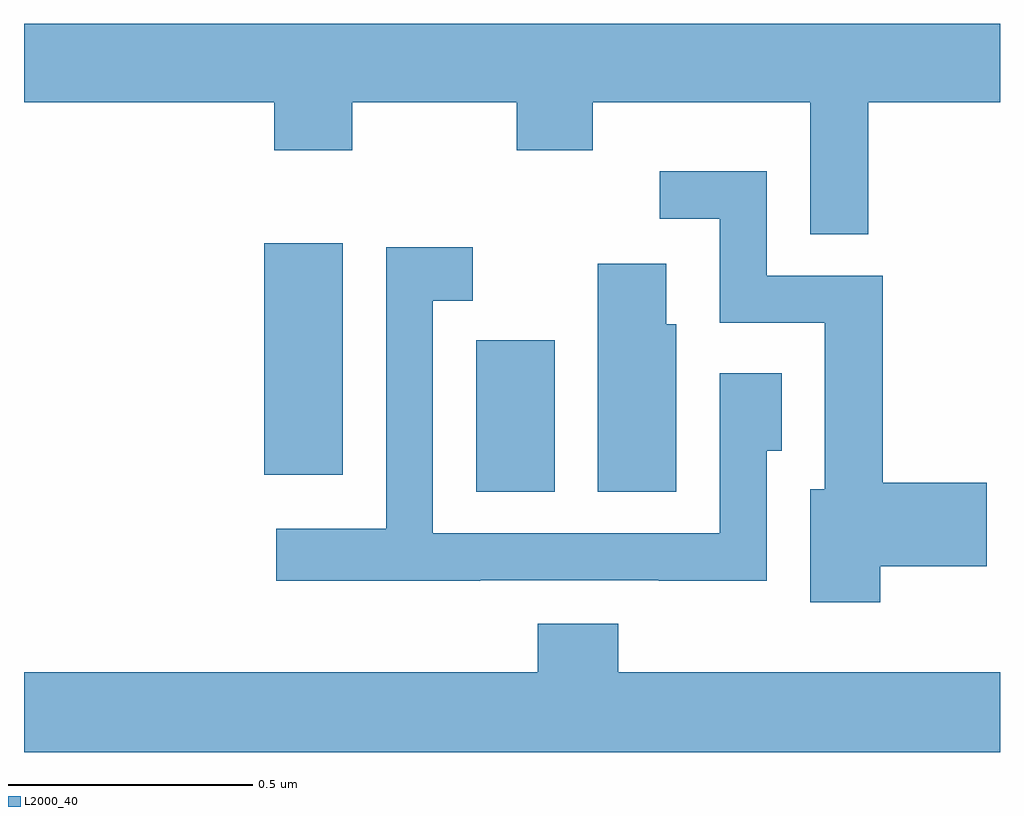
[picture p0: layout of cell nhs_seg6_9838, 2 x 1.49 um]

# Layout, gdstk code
import gdstk
lib = gdstk.Library(unit=1e-6, precision=1e-09)
def R(c, l, rs):  # rectangles x0, y0, x1, y1
    for r in rs: c.add(gdstk.rectangle(r[:2], r[2:], *l))
def P(c, l, *ps):  # polygons
    for p in ps: c.add(gdstk.Polygon(p, *l))
L2000_40 = (2000, 40)

nhs_seg6_9838 = lib.new_cell('nhs_seg6_9838')
R(nhs_seg6_9838, L2000_40, [(239.927,942.541,240.088,942.852), (239.492,942.576,239.653,943.051)])
P(nhs_seg6_9838, L2000_40, [(240.73,943.34),(241,943.34),(241,943.5),(239,943.5),(239,943.34),(239.513,943.34),(239.513,943.241),(239.673,943.241),(239.673,943.34),(240.01,943.34),(240.01,943.241),(240.165,943.241),(240.165,943.34),(240.611,943.34),(240.611,943.069),(240.73,943.069)],
  [(240.755,942.389),(240.973,942.389),(240.973,942.56),(240.76,942.56),(240.76,942.984),(240.522,942.984),(240.522,943.198),(240.303,943.198),(240.303,943.101),(240.426,943.101),(240.426,942.888),(240.641,942.888),(240.641,942.547),(240.611,942.547),(240.611,942.315),(240.755,942.315)],
  [(239.935,942.36),(240.301,942.36),(240.301,942.359),(240.522,942.359),(240.522,942.625),(240.553,942.625),(240.553,942.784),(240.426,942.784),(240.426,942.456),(239.838,942.456),(239.838,942.933),(239.92,942.933),(239.92,943.042),(239.742,943.042),(239.742,942.466),(239.517,942.466),(239.517,942.359),(239.935,942.359)],
  [(240.337,942.885),(240.316,942.885),(240.316,943.009),(240.176,943.009),(240.176,942.541),(240.337,942.541)],
  [(241,942.172),(240.218,942.172),(240.218,942.271),(240.053,942.271),(240.053,942.172),(239,942.172),(239,942.008),(241,942.008)])

lib.write_gds('nhs_seg6_9838.gds')
